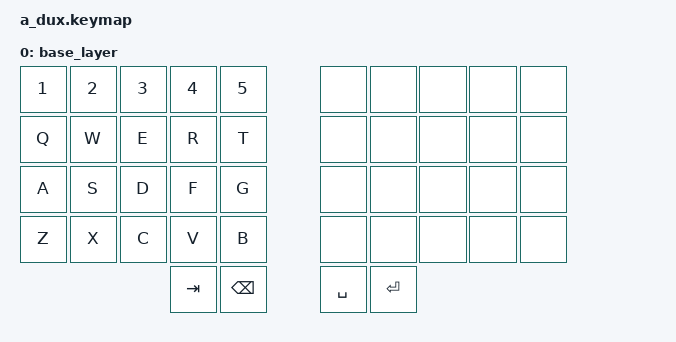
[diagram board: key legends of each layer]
/*
 * Copyright (c) 2021 The ZMK Contributors
 *
 * SPDX-License-Identifier: MIT
 */

#include <behaviors.dtsi>
#include <dt-bindings/zmk/keys.h>

/ {

    keymap {
        compatible = "zmk,keymap";

        base_layer {
            bindings = <
                &kp N1    &kp N2    &kp N3    &kp N4    &kp N5    &none     &none     &none     &none     &none
                &kp Q     &kp W     &kp E     &kp R     &kp T     &none     &none     &none     &none     &none
                &kp A     &kp S     &kp D     &kp F     &kp G     &none     &none     &none     &none     &none
                &kp Z     &kp X     &kp C     &kp V     &kp B     &none     &none     &none     &none     &none
                                              &kp TAB   &kp BSPC  &kp SPACE &kp ENTER
            >;
        };

    };
};
